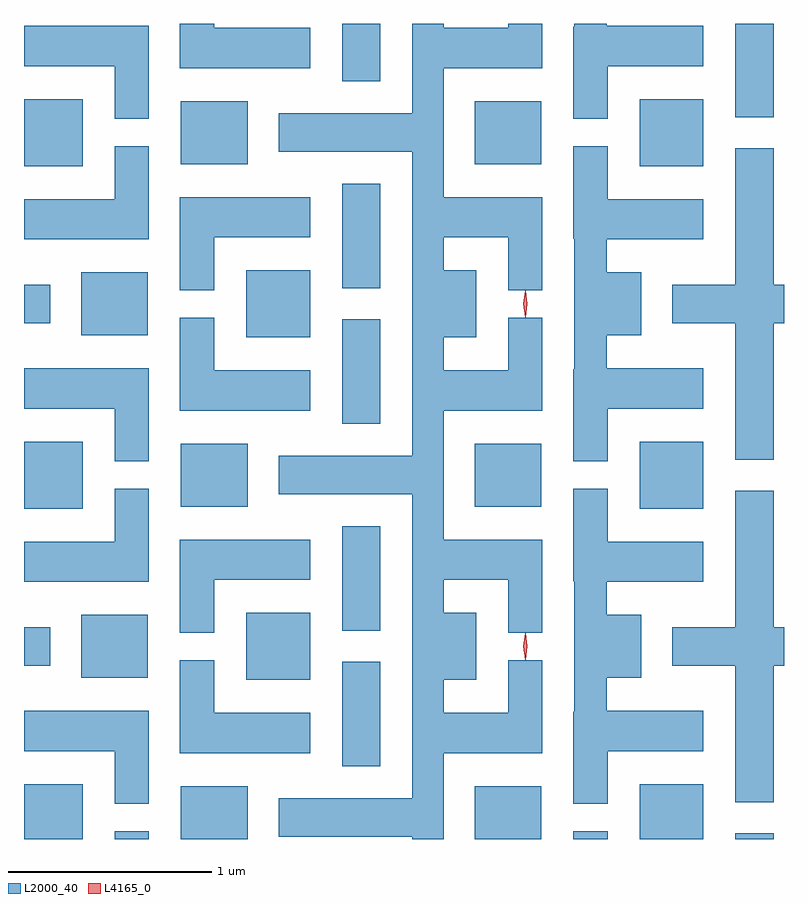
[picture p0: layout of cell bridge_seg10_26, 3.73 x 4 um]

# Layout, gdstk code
import gdstk
lib = gdstk.Library(unit=1e-6, precision=1e-09)
def R(c, l, rs):  # rectangles x0, y0, x1, y1
    for r in rs: c.add(gdstk.rectangle(r[:2], r[2:], *l))
def P(c, l, *ps):  # polygons
    for p in ps: c.add(gdstk.Polygon(p, *l))
L2000_40 = (2000, 40)
L4165_0 = (4165, 0)

bridge_seg10_26 = lib.new_cell('bridge_seg10_26')
R(bridge_seg10_26, L2000_40, [(1747.676,2159.824,1747.964,2160.094), (1748.121,2159.824,1748.289,2159.863), (1748.446,2159.824,1748.774,2160.084), (1749.886,2159.824,1750.214,2160.084), (1750.371,2159.824,1750.539,2159.863), (1750.696,2159.824,1751.009,2160.094), (1751.166,2159.824,1751.354,2159.854), (1749.236,2160.181,1749.424,2160.694), (1748.766,2160.606,1749.079,2160.934), (1747.956,2160.616,1748.284,2160.924), (1747.676,2160.676,1747.804,2160.864), (1749.236,2160.846,1749.424,2161.359), (1747.676,2161.446,1747.964,2161.774), (1750.696,2161.446,1751.009,2161.774), (1748.446,2161.456,1748.774,2161.764), (1749.886,2161.456,1750.214,2161.764), (1749.236,2161.861,1749.424,2162.374), (1748.766,2162.286,1749.079,2162.614), (1747.956,2162.296,1748.284,2162.604), (1747.676,2162.356,1747.804,2162.544), (1749.236,2162.526,1749.424,2163.039), (1747.676,2163.126,1747.964,2163.454), (1750.696,2163.126,1751.009,2163.454), (1748.446,2163.136,1748.774,2163.444), (1749.886,2163.136,1750.214,2163.444), (1751.166,2163.366,1751.354,2163.824), (1749.236,2163.541,1749.424,2163.824)])
P(bridge_seg10_26, L2000_40, [(1749.079,2163.804),(1748.609,2163.804),(1748.609,2163.824),(1748.441,2163.824),(1748.441,2163.606),(1749.079,2163.606)],
  [(1749.734,2160.246),(1750.219,2160.246),(1750.219,2160.703),(1750.051,2160.703),(1750.051,2160.444),(1749.734,2160.444),(1749.734,2160.606),(1749.894,2160.606),(1749.894,2160.934),(1749.734,2160.934),(1749.734,2161.096),(1750.051,2161.096),(1750.051,2160.838),(1750.219,2160.838),(1750.219,2161.294),(1749.734,2161.294),(1749.734,2161.926),(1750.219,2161.926),(1750.219,2162.383),(1750.051,2162.383),(1750.051,2162.124),(1749.734,2162.124),(1749.734,2162.286),(1749.894,2162.286),(1749.894,2162.614),(1749.734,2162.614),(1749.734,2162.776),(1750.051,2162.776),(1750.051,2162.518),(1750.219,2162.518),(1750.219,2162.974),(1749.734,2162.974),(1749.734,2163.606),(1750.219,2163.606),(1750.219,2163.824),(1750.051,2163.824),(1750.051,2163.804),(1749.734,2163.804),(1749.734,2163.824),(1749.581,2163.824),(1749.581,2163.384),(1748.926,2163.384),(1748.926,2163.196),(1749.581,2163.196),(1749.581,2161.704),(1748.926,2161.704),(1748.926,2161.516),(1749.581,2161.516),(1749.581,2160.024),(1748.926,2160.024),(1748.926,2159.836),(1749.581,2159.836),(1749.581,2159.824),(1749.734,2159.824)],
  [(1750.539,2163.616),(1751.009,2163.616),(1751.009,2163.814),(1750.534,2163.814),(1750.534,2163.824),(1750.376,2163.824),(1750.376,2163.81),(1750.371,2163.81),(1750.371,2163.358),(1750.539,2163.358)],
  [(1748.289,2163.814),(1747.676,2163.814),(1747.676,2163.616),(1748.121,2163.616),(1748.121,2163.358),(1748.289,2163.358)],
  [(1748.289,2163.223),(1748.121,2163.223),(1748.121,2162.964),(1747.676,2162.964),(1747.676,2162.766),(1748.289,2162.766)],
  [(1750.539,2161.936),(1751.009,2161.936),(1751.009,2162.134),(1750.534,2162.134),(1750.534,2162.296),(1750.704,2162.296),(1750.704,2162.604),(1750.534,2162.604),(1750.534,2162.766),(1751.009,2162.766),(1751.009,2162.964),(1750.539,2162.964),(1750.539,2163.223),(1750.371,2163.223),(1750.371,2162.77),(1750.376,2162.77),(1750.376,2162.13),(1750.371,2162.13),(1750.371,2161.678),(1750.539,2161.678)],
  [(1751.354,2162.356),(1751.404,2162.356),(1751.404,2162.544),(1751.354,2162.544),(1751.354,2163.214),(1751.166,2163.214),(1751.166,2162.544),(1750.856,2162.544),(1750.856,2162.356),(1751.166,2162.356),(1751.166,2161.686),(1751.354,2161.686)],
  [(1748.609,2162.776),(1749.079,2162.776),(1749.079,2162.974),(1748.441,2162.974),(1748.441,2162.518),(1748.609,2162.518)],
  [(1749.079,2162.124),(1748.609,2162.124),(1748.609,2162.383),(1748.441,2162.383),(1748.441,2161.926),(1749.079,2161.926)],
  [(1748.289,2162.134),(1747.676,2162.134),(1747.676,2161.936),(1748.121,2161.936),(1748.121,2161.678),(1748.289,2161.678)],
  [(1748.289,2161.543),(1748.121,2161.543),(1748.121,2161.284),(1747.676,2161.284),(1747.676,2161.086),(1748.289,2161.086)],
  [(1750.539,2160.256),(1751.009,2160.256),(1751.009,2160.454),(1750.534,2160.454),(1750.534,2160.616),(1750.704,2160.616),(1750.704,2160.924),(1750.534,2160.924),(1750.534,2161.086),(1751.009,2161.086),(1751.009,2161.284),(1750.539,2161.284),(1750.539,2161.543),(1750.371,2161.543),(1750.371,2161.09),(1750.376,2161.09),(1750.376,2160.45),(1750.371,2160.45),(1750.371,2159.998),(1750.539,2159.998)],
  [(1751.354,2160.676),(1751.404,2160.676),(1751.404,2160.864),(1751.354,2160.864),(1751.354,2161.534),(1751.166,2161.534),(1751.166,2160.864),(1750.856,2160.864),(1750.856,2160.676),(1751.166,2160.676),(1751.166,2160.006),(1751.354,2160.006)],
  [(1748.609,2161.096),(1749.079,2161.096),(1749.079,2161.294),(1748.441,2161.294),(1748.441,2160.838),(1748.609,2160.838)],
  [(1749.079,2160.444),(1748.609,2160.444),(1748.609,2160.703),(1748.441,2160.703),(1748.441,2160.246),(1749.079,2160.246)],
  [(1748.289,2160.454),(1747.676,2160.454),(1747.676,2160.256),(1748.121,2160.256),(1748.121,2159.998),(1748.289,2159.998)])
P(bridge_seg10_26, L4165_0, [(1750.135,2160.704),(1750.134,2160.705),(1750.125,2160.77),(1750.134,2160.835),(1750.135,2160.836),(1750.136,2160.835),(1750.145,2160.77),(1750.136,2160.705)],
  [(1750.135,2162.384),(1750.134,2162.385),(1750.125,2162.45),(1750.134,2162.515),(1750.135,2162.516),(1750.136,2162.515),(1750.145,2162.45),(1750.136,2162.385)])

lib.write_gds('bridge_seg10_26.gds')
